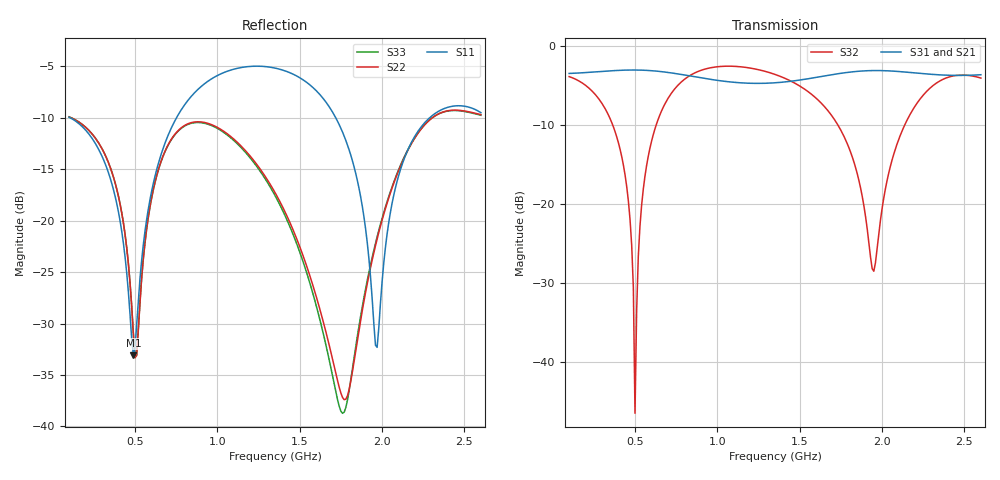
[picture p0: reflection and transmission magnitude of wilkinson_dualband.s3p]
! Touchstone file exported from HFSS 2025.2.4
!  File:  C:/Users/Karthik/Documents/yash/MCD-Project/em/wilkinson_dualband.aedt
!  Generated:  12:59:26 PM Nov 24, 2026
!  Design:  Wilkinson
!  Project:  wilkinson_dualband
! Variables:
!  Cs = 2.934pF
!  L1 = 42.97mm
!  Lc = 44.873mm
!  Lf = 10mm
!  Lv = 8.634nH
!  Lx = 12mm
!  Ly = 6mm
!  Rv = 100ohm
!  Sc = 0.48mm
!  W1 = 4.831mm
!  W50 = 2.46mm
!  Wc = 1.44mm
!  h = 0.8mm
!  t_isl = 0.16mm
# GHz S MA R 50.000000
! Terminal data exported
! Port[1] = P1
! Port[2] = P2
! Port[3] = P3
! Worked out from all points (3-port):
!   251 points, 100 MHz to 2.6 GHz, reference 50 ohm
!   strongest paths, dB at 100 MHz, 720 MHz, 1.35 GHz, 1.98 GHz, 2.6 GHz:
!     S31: -3.5, -3.4, -4.7, -3.1, -3.7
!     S21: -3.5, -3.4, -4.7, -3.1, -3.7
!     S32: -3.9, -6.0, -3.6, -23.8, -4.1
!   lowest |S11| = -33.1 dB at 490 MHz (marker M1), VSWR 1.05, Z = 47.8 + j0.247 ohm
!   |S11| at or under -10 dB: 104.2 MHz to 752.6 MHz (648.4 MHz wide, 151 % of centre); 1.718 GHz to 2.29 GHz (571.8 MHz wide, 28.5 % of centre)
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0.1  0.3175 163.7  0.6689 -18.4  0.6689 -18.4
     0.6689 -18.4  0.3188 160.8  0.639 -19.8
     0.6689 -18.4  0.639 -19.8  0.3188 160.8
0.49  0.02218 173.3  0.7032 -95.0  0.7033 -95.0
      0.7032 -95.0  0.02811 114.9  0.02973 -103.4
      0.7033 -95.0  0.02973 -103.4  0.02841 114.3
0.5  0.02401 -157.9  0.7031 -97.1  0.7032 -97.1
     0.7031 -97.1  0.02156 139.1  0.004766 -86.9
     0.7032 -97.1  0.004766 -86.9  0.02172 138.0
0.55  0.07566 -118.0  0.7011 -107.5  0.7012 -107.5
      0.7011 -107.5  0.06488 -148.9  0.1234 56.8
      0.7012 -107.5  0.1234 56.8  0.06431 -149.1
0.71  0.2698 -136.0  0.676 -140.4  0.6767 -140.4
      0.676 -140.4  0.2405 178.4  0.4827 17.2
      0.6767 -140.4  0.4827 17.2  0.2391 178.3
1.35  0.5503 121.7  0.5825 106.3  0.584 106.2
      0.5825 106.3  0.1368 50.7  0.6596 -96.6
      0.584 106.2  0.6596 -96.6  0.1324 49.9
1.76  0.269 47.8  0.6718 31.4  0.6727 31.3
      0.6718 31.4  0.01383 -25.6  0.2795 -165.2
      0.6727 31.3  0.2795 -165.2  0.01158 -38.5
1.97  0.02422 -92.6  0.6975 -12.2  0.6979 -12.4
      0.6975 -12.2  0.08136 -135.2  0.05242 31.4
      0.6979 -12.4  0.05242 31.4  0.08342 -136.7
2.16  0.2236 158.3  0.6798 -51.0  0.68 -51.1
      0.6798 -51.0  0.222 174.3  0.3525 -44.2
      0.68 -51.1  0.3525 -44.2  0.2235 173.9
2.6  0.3342 72.2  0.6556 -132.7  0.6566 -132.9
     0.6556 -132.7  0.327 61.4  0.6255 -138.2
     0.6566 -132.9  0.6255 -138.2  0.3247 61.2
